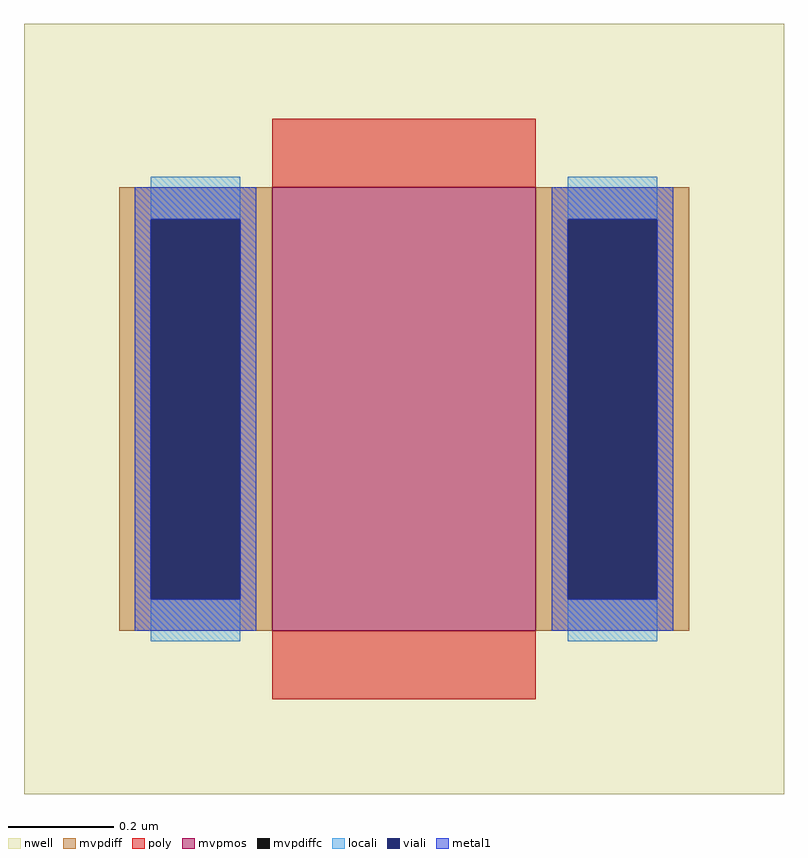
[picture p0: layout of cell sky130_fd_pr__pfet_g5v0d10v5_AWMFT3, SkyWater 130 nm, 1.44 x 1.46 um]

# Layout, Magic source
magic
tech sky130A
<< nwell >>
rect -72 -73 72 73
<< mvpmos >>
rect -25 -42 25 42
<< mvpdiff >>
rect -54 36 -25 42
rect -54 -36 -48 36
rect -31 -36 -25 36
rect -54 -42 -25 -36
rect 25 36 54 42
rect 25 -36 31 36
rect 48 -36 54 36
rect 25 -42 54 -36
<< mvpdiffc >>
rect -48 -36 -31 36
rect 31 -36 48 36
<< poly >>
rect -25 42 25 55
rect -25 -55 25 -42
<< locali >>
rect -48 36 -31 44
rect -48 -44 -31 -36
rect 31 36 48 44
rect 31 -44 48 -36
<< viali >>
rect -48 -36 -31 36
rect 31 -36 48 36
<< metal1 >>
rect -51 36 -28 42
rect -51 -36 -48 36
rect -31 -36 -28 36
rect -51 -42 -28 -36
rect 28 36 51 42
rect 28 -36 31 36
rect 48 -36 51 36
rect 28 -42 51 -36
<< properties >>
string gencell sky130_fd_pr__pfet_g5v0d10v5
string library sky130
string parameters w 0.84 l 0.5 m 1 nf 1 diffcov 100 polycov 100 guard 0 glc 1 grc 1 gtc 1 gbc 1 tbcov 100 rlcov 100 topc 0 botc 0 poverlap 0 doverlap 1 lmin 0.50 wmin 0.42 compatible {sky130_fd_pr__pfet_01v8  sky130_fd_pr__pfet_01v8_lvt sky130_fd_pr__pfet_01v8_hvt  sky130_fd_pr__pfet_g5v0d10v5} full_metal 1 viasrc 100 viadrn 100 viagate 100 viagb 0 viagr 0 viagl 0 viagt 0
<< end >>
